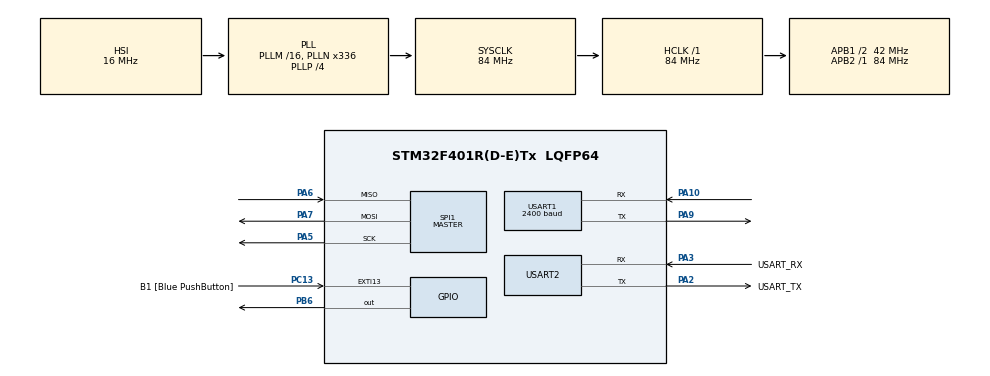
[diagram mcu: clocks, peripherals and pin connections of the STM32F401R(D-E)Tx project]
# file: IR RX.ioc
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Dma.Request0=SPI1_TX
Dma.Request1=USART1_RX
Dma.Request2=USART2_RX
Dma.SPI1_TX.0.Direction=DMA_MEMORY_TO_PERIPH
Dma.SPI1_TX.0.FIFOMode=DMA_FIFOMODE_DISABLE
Dma.SPI1_TX.0.Instance=DMA2_Stream3
Dma.SPI1_TX.0.MemDataAlignment=DMA_MDATAALIGN_BYTE
Dma.SPI1_TX.0.MemInc=DMA_MINC_ENABLE
Dma.SPI1_TX.0.Mode=DMA_NORMAL
Dma.SPI1_TX.0.PeriphDataAlignment=DMA_PDATAALIGN_BYTE
Dma.SPI1_TX.0.PeriphInc=DMA_PINC_DISABLE
Dma.SPI1_TX.0.Priority=DMA_PRIORITY_LOW
Dma.USART1_RX.1.Direction=DMA_PERIPH_TO_MEMORY
Dma.USART1_RX.1.FIFOMode=DMA_FIFOMODE_DISABLE
Dma.USART1_RX.1.Instance=DMA2_Stream2
Dma.USART1_RX.1.MemDataAlignment=DMA_MDATAALIGN_BYTE
Dma.USART1_RX.1.MemInc=DMA_MINC_ENABLE
Dma.USART1_RX.1.Mode=DMA_NORMAL
Dma.USART1_RX.1.PeriphDataAlignment=DMA_PDATAALIGN_BYTE
Dma.USART1_RX.1.PeriphInc=DMA_PINC_DISABLE
Dma.USART1_RX.1.Priority=DMA_PRIORITY_LOW
Dma.USART2_RX.2.Direction=DMA_PERIPH_TO_MEMORY
Dma.USART2_RX.2.FIFOMode=DMA_FIFOMODE_DISABLE
Dma.USART2_RX.2.Instance=DMA1_Stream5
Dma.USART2_RX.2.MemDataAlignment=DMA_MDATAALIGN_BYTE
Dma.USART2_RX.2.MemInc=DMA_MINC_ENABLE
Dma.USART2_RX.2.Mode=DMA_NORMAL
Dma.USART2_RX.2.PeriphDataAlignment=DMA_PDATAALIGN_BYTE
Dma.USART2_RX.2.PeriphInc=DMA_PINC_DISABLE
Dma.USART2_RX.2.Priority=DMA_PRIORITY_LOW
Mcu.Family=STM32F4
Mcu.Name=STM32F401R(D-E)Tx
Mcu.Package=LQFP64
NVIC.DMA1_Stream5_IRQn=true\:0\:0\:false\:false\:true\:false\:true\:true
NVIC.DMA2_Stream2_IRQn=true\:0\:0\:false\:false\:true\:false\:true\:true
NVIC.DMA2_Stream3_IRQn=true\:0\:0\:false\:false\:true\:false\:true\:true
NVIC.PriorityGroup=NVIC_PRIORITYGROUP_0
NVIC.SPI1_IRQn=true\:0\:0\:false\:false\:true\:true\:true\:true
NVIC.TIM2_IRQn=true\:0\:0\:false\:false\:true\:true\:true\:true
NVIC.TIM3_IRQn=true\:0\:0\:false\:false\:true\:true\:true\:true
NVIC.USART1_IRQn=true\:0\:0\:false\:false\:true\:true\:true\:true
NVIC.USART2_IRQn=true\:0\:0\:false\:false\:true\:true\:true\:true
PA10.Mode=Asynchronous
PA10.Signal=USART1_RX
PA13.GPIO_Label=TMS
PA13.Mode=Serial_Wire
PA13.Signal=SYS_JTMS-SWDIO
PA14.GPIO_Label=TCK
PA14.Mode=Serial_Wire
PA14.Signal=SYS_JTCK-SWCLK
PA2.GPIO_Label=USART_TX
PA2.GPIO_Mode=GPIO_MODE_AF_PP
PA2.GPIO_PuPd=GPIO_NOPULL
PA2.GPIO_Speed=GPIO_SPEED_FREQ_LOW
PA2.Mode=Asynchronous
PA2.Signal=USART2_TX
PA3.GPIO_Label=USART_RX
PA3.GPIO_Mode=GPIO_MODE_AF_PP
PA3.GPIO_PuPd=GPIO_NOPULL
PA3.GPIO_Speed=GPIO_SPEED_FREQ_LOW
PA3.Mode=Asynchronous
PA3.Signal=USART2_RX
PA5.Mode=Full_Duplex_Master
PA5.Signal=SPI1_SCK
PA6.Mode=Full_Duplex_Master
PA6.Signal=SPI1_MISO
PA7.Mode=Full_Duplex_Master
PA7.Signal=SPI1_MOSI
PA9.Mode=Asynchronous
PA9.Signal=USART1_TX
PB6.Signal=GPIO_Output
PC13-ANTI_TAMP.GPIO_Label=B1 [Blue PushButton]
PC13-ANTI_TAMP.GPIO_ModeDefaultEXTI=GPIO_MODE_IT_FALLING
PC13-ANTI_TAMP.GPIO_PuPd=GPIO_NOPULL
PC13-ANTI_TAMP.Signal=GPXTI13
PC14-OSC32_IN.Mode=LSE-External-Oscillator
PC14-OSC32_IN.Signal=RCC_OSC32_IN
PC15-OSC32_OUT.Mode=LSE-External-Oscillator
PC15-OSC32_OUT.Signal=RCC_OSC32_OUT
PH0\ -\ OSC_IN.Mode=HSE-External-Clock-Source
PH0\ -\ OSC_IN.Signal=RCC_OSC_IN
PH1\ -\ OSC_OUT.Mode=HSE-External-Clock-Source
PH1\ -\ OSC_OUT.Signal=RCC_OSC_OUT
ProjectManager.HeapSize=0x200
ProjectManager.StackSize=0x400
ProjectManager.TargetToolchain=STM32CubeIDE
RCC.48MHZClocksFreq_Value=48000000
RCC.AHBFreq_Value=84000000
RCC.APB1CLKDivider=RCC_HCLK_DIV2
RCC.APB1Freq_Value=42000000
RCC.APB1TimFreq_Value=84000000
RCC.APB2Freq_Value=84000000
RCC.APB2TimFreq_Value=84000000
RCC.CortexFreq_Value=84000000
RCC.HCLKFreq_Value=84000000
RCC.HSE_VALUE=8000000
RCC.HSI_VALUE=16000000
RCC.PLLN=336
RCC.PLLP=RCC_PLLP_DIV4
RCC.PLLQ=7
RCC.SYSCLKFreq_VALUE=84000000
RCC.SYSCLKSource=RCC_SYSCLKSOURCE_PLLCLK
RCC.VCOOutputFreq_Value=336000000
SPI1.BaudRatePrescaler=SPI_BAUDRATEPRESCALER_4
SPI1.Direction=SPI_DIRECTION_2LINES
SPI1.FirstBit=SPI_FIRSTBIT_MSB
SPI1.Mode=SPI_MODE_MASTER
SPI1.VirtualType=VM_MASTER
TIM2.Period=8399
TIM2.Prescaler=4
TIM3.Period=8399
TIM3.Prescaler=9999
USART1.BaudRate=2400
USART1.VirtualMode=VM_ASYNC
USART2.VirtualMode=VM_ASYNC
VP_TIM2_VS_ClockSourceINT.Mode=Internal
VP_TIM3_VS_ClockSourceINT.Mode=Internal
board=NUCLEO-F401RE

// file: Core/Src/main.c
/* USER CODE BEGIN Header */
/**
  ******************************************************************************
  * @file           : main.c
  * @brief          : Main program body
  ******************************************************************************
  * @attention
  *
  * Copyright (c) 2024 STMicroelectronics.
  * All rights reserved.
  *
  * This software is licensed under terms that can be found in the LICENSE file
  * in the root directory of this software component.
  * If no LICENSE file comes with this software, it is provided AS-IS.
  *
  ******************************************************************************
  */
/* USER CODE END Header */
#include "main.h"

SPI_HandleTypeDef hspi1;
DMA_HandleTypeDef hdma_spi1_tx;

TIM_HandleTypeDef htim2;
TIM_HandleTypeDef htim3;

UART_HandleTypeDef huart1;
UART_HandleTypeDef huart2;
DMA_HandleTypeDef hdma_usart1_rx;
DMA_HandleTypeDef hdma_usart2_rx;

void SystemClock_Config(void);
static void MX_GPIO_Init(void);
static void MX_DMA_Init(void);
static void MX_USART2_UART_Init(void);
static void MX_SPI1_Init(void);
static void MX_TIM2_Init(void);
static void MX_TIM3_Init(void);
static void MX_USART1_UART_Init(void);

/* USER CODE BEGIN 0 */
#define SIZE 2
char RxChar = '0';

struct symbol_s{
	uint8_t c;
	uint8_t r;
};

struct symbol_s sym_c[5] = {
		{1,34},
		{2,65},
		{4,65},
		{8,65},
		{16,62}};

struct symbol_s sym_p[5] = {
		{1,48},
		{2,72},
		{4,72},
		{8,72},
		{16,127}};

struct symbol_s *current_sym = &sym_p;

uint8_t data[SIZE];
int counter = 0;
int flag = 0;

void HAL_UART_RxCpltCallback(UART_HandleTypeDef *huart)
{
    if (huart == &huart2){

    	HAL_UART_Receive_DMA(&huart1, &RxChar, 1);
	    switch(RxChar){
	    	case '0': current_sym = &sym_p;
	    		break;
	    	case '1': current_sym = &sym_c;
	   	    	break;
	    	default: current_sym = &sym_c;
	   	    	break;
	    }
    }

}

HAL_TIM_PeriodElapsedCallback(TIM_HandleTypeDef *htim){
	if(htim == &htim2){
		data[0] = current_sym[counter].r;
		data[1] = current_sym[counter].c;

		HAL_SPI_Transmit_DMA(&hspi1, &data, SIZE);
		HAL_GPIO_WritePin(GPIOB, GPIO_PIN_6, GPIO_PIN_RESET);
		HAL_GPIO_WritePin(GPIOB, GPIO_PIN_6, GPIO_PIN_SET);
		counter = (counter+1)%5;
	}
	if(htim == &htim3){
		flag = !flag;
	}
}
/* USER CODE END 0 */

int main(void)
{

  /* MCU Configuration--------------------------------------------------------*/

  /* Reset of all peripherals, Initializes the Flash interface and the Systick. */
  HAL_Init();

  /* Configure the system clock */
  SystemClock_Config();

  /* Initialize all configured peripherals */
  MX_GPIO_Init();
  MX_DMA_Init();
  MX_USART2_UART_Init();
  MX_SPI1_Init();
  MX_TIM2_Init();
  MX_TIM3_Init();
  MX_USART1_UART_Init();
  /* USER CODE BEGIN 2 */
  HAL_TIM_Base_Start_IT(&htim2);
  HAL_TIM_Base_Start_IT(&htim3);
  HAL_UART_Receive_DMA(&huart1, &RxChar, 1);
  /* USER CODE END 2 */

  /* Infinite loop */
  while (1)
  {

  }
}

void SystemClock_Config(void)
{
  RCC_OscInitTypeDef RCC_OscInitStruct = {0};
  RCC_ClkInitTypeDef RCC_ClkInitStruct = {0};

  /** Configure the main internal regulator output voltage
  */
  __HAL_RCC_PWR_CLK_ENABLE();
  __HAL_PWR_VOLTAGESCALING_CONFIG(PWR_REGULATOR_VOLTAGE_SCALE2);

  /** Initializes the RCC Oscillators according to the specified parameters
  * in the RCC_OscInitTypeDef structure.
  */
  RCC_OscInitStruct.OscillatorType = RCC_OSCILLATORTYPE_HSI;
  RCC_OscInitStruct.HSIState = RCC_HSI_ON;
  RCC_OscInitStruct.HSICalibrationValue = RCC_HSICALIBRATION_DEFAULT;
  RCC_OscInitStruct.PLL.PLLState = RCC_PLL_ON;
  RCC_OscInitStruct.PLL.PLLSource = RCC_PLLSOURCE_HSI;
  RCC_OscInitStruct.PLL.PLLM = 16;
  RCC_OscInitStruct.PLL.PLLN = 336;
  RCC_OscInitStruct.PLL.PLLP = RCC_PLLP_DIV4;
  RCC_OscInitStruct.PLL.PLLQ = 7;
  if (HAL_RCC_OscConfig(&RCC_OscInitStruct) != HAL_OK)
  {
    Error_Handler();
  }

  /** Initializes the CPU, AHB and APB buses clocks
  */
  RCC_ClkInitStruct.ClockType = RCC_CLOCKTYPE_HCLK|RCC_CLOCKTYPE_SYSCLK
                              |RCC_CLOCKTYPE_PCLK1|RCC_CLOCKTYPE_PCLK2;
  RCC_ClkInitStruct.SYSCLKSource = RCC_SYSCLKSOURCE_PLLCLK;
  RCC_ClkInitStruct.AHBCLKDivider = RCC_SYSCLK_DIV1;
  RCC_ClkInitStruct.APB1CLKDivider = RCC_HCLK_DIV2;
  RCC_ClkInitStruct.APB2CLKDivider = RCC_HCLK_DIV1;

  if (HAL_RCC_ClockConfig(&RCC_ClkInitStruct, FLASH_LATENCY_2) != HAL_OK)
  {
    Error_Handler();
  }
}

static void MX_SPI1_Init(void)
{

  /* SPI1 parameter configuration*/
  hspi1.Instance = SPI1;
  hspi1.Init.Mode = SPI_MODE_MASTER;
  hspi1.Init.Direction = SPI_DIRECTION_2LINES;
  hspi1.Init.DataSize = SPI_DATASIZE_8BIT;
  hspi1.Init.CLKPolarity = SPI_POLARITY_LOW;
  hspi1.Init.CLKPhase = SPI_PHASE_1EDGE;
  hspi1.Init.NSS = SPI_NSS_SOFT;
  hspi1.Init.BaudRatePrescaler = SPI_BAUDRATEPRESCALER_4;
  hspi1.Init.FirstBit = SPI_FIRSTBIT_MSB;
  hspi1.Init.TIMode = SPI_TIMODE_DISABLE;
  hspi1.Init.CRCCalculation = SPI_CRCCALCULATION_DISABLE;
  hspi1.Init.CRCPolynomial = 10;
  if (HAL_SPI_Init(&hspi1) != HAL_OK)
  {
    Error_Handler();
  }

}

static void MX_TIM2_Init(void)
{

  TIM_ClockConfigTypeDef sClockSourceConfig = {0};
  TIM_MasterConfigTypeDef sMasterConfig = {0};

  htim2.Instance = TIM2;
  htim2.Init.Prescaler = 4;
  htim2.Init.CounterMode = TIM_COUNTERMODE_UP;
  htim2.Init.Period = 8399;
  htim2.Init.ClockDivision = TIM_CLOCKDIVISION_DIV1;
  htim2.Init.AutoReloadPreload = TIM_AUTORELOAD_PRELOAD_DISABLE;
  if (HAL_TIM_Base_Init(&htim2) != HAL_OK)
  {
    Error_Handler();
  }
  sClockSourceConfig.ClockSource = TIM_CLOCKSOURCE_INTERNAL;
  if (HAL_TIM_ConfigClockSource(&htim2, &sClockSourceConfig) != HAL_OK)
  {
    Error_Handler();
  }
  sMasterConfig.MasterOutputTrigger = TIM_TRGO_RESET;
  sMasterConfig.MasterSlaveMode = TIM_MASTERSLAVEMODE_DISABLE;
  if (HAL_TIMEx_MasterConfigSynchronization(&htim2, &sMasterConfig) != HAL_OK)
  {
    Error_Handler();
  }

}

static void MX_TIM3_Init(void)
{

  TIM_ClockConfigTypeDef sClockSourceConfig = {0};
  TIM_MasterConfigTypeDef sMasterConfig = {0};

  htim3.Instance = TIM3;
  htim3.Init.Prescaler = 9999;
  htim3.Init.CounterMode = TIM_COUNTERMODE_UP;
  htim3.Init.Period = 8399;
  htim3.Init.ClockDivision = TIM_CLOCKDIVISION_DIV1;
  htim3.Init.AutoReloadPreload = TIM_AUTORELOAD_PRELOAD_DISABLE;
  if (HAL_TIM_Base_Init(&htim3) != HAL_OK)
  {
    Error_Handler();
  }
  sClockSourceConfig.ClockSource = TIM_CLOCKSOURCE_INTERNAL;
  if (HAL_TIM_ConfigClockSource(&htim3, &sClockSourceConfig) != HAL_OK)
  {
    Error_Handler();
  }
  sMasterConfig.MasterOutputTrigger = TIM_TRGO_RESET;
  sMasterConfig.MasterSlaveMode = TIM_MASTERSLAVEMODE_DISABLE;
  if (HAL_TIMEx_MasterConfigSynchronization(&htim3, &sMasterConfig) != HAL_OK)
  {
    Error_Handler();
  }

}

static void MX_USART1_UART_Init(void)
{

  huart1.Instance = USART1;
  huart1.Init.BaudRate = 2400;
  huart1.Init.WordLength = UART_WORDLENGTH_8B;
  huart1.Init.StopBits = UART_STOPBITS_1;
  huart1.Init.Parity = UART_PARITY_NONE;
  huart1.Init.Mode = UART_MODE_TX_RX;
  huart1.Init.HwFlowCtl = UART_HWCONTROL_NONE;
  huart1.Init.OverSampling = UART_OVERSAMPLING_16;
  if (HAL_UART_Init(&huart1) != HAL_OK)
  {
    Error_Handler();
  }

}

static void MX_USART2_UART_Init(void)
{

  huart2.Instance = USART2;
  huart2.Init.BaudRate = 115200;
  huart2.Init.WordLength = UART_WORDLENGTH_8B;
  huart2.Init.StopBits = UART_STOPBITS_1;
  huart2.Init.Parity = UART_PARITY_NONE;
  huart2.Init.Mode = UART_MODE_TX_RX;
  huart2.Init.HwFlowCtl = UART_HWCONTROL_NONE;
  huart2.Init.OverSampling = UART_OVERSAMPLING_16;
  if (HAL_UART_Init(&huart2) != HAL_OK)
  {
    Error_Handler();
  }

}

static void MX_DMA_Init(void)
{

  /* DMA controller clock enable */
  __HAL_RCC_DMA2_CLK_ENABLE();
  __HAL_RCC_DMA1_CLK_ENABLE();

  /* DMA interrupt init */
  /* DMA1_Stream5_IRQn interrupt configuration */
  HAL_NVIC_SetPriority(DMA1_Stream5_IRQn, 0, 0);
  HAL_NVIC_EnableIRQ(DMA1_Stream5_IRQn);
  /* DMA2_Stream2_IRQn interrupt configuration */
  HAL_NVIC_SetPriority(DMA2_Stream2_IRQn, 0, 0);
  HAL_NVIC_EnableIRQ(DMA2_Stream2_IRQn);
  /* DMA2_Stream3_IRQn interrupt configuration */
  HAL_NVIC_SetPriority(DMA2_Stream3_IRQn, 0, 0);
  HAL_NVIC_EnableIRQ(DMA2_Stream3_IRQn);

}

static void MX_GPIO_Init(void)
{
  GPIO_InitTypeDef GPIO_InitStruct = {0};

  /* GPIO Ports Clock Enable */
  __HAL_RCC_GPIOC_CLK_ENABLE();
  __HAL_RCC_GPIOH_CLK_ENABLE();
  __HAL_RCC_GPIOA_CLK_ENABLE();
  __HAL_RCC_GPIOB_CLK_ENABLE();

  /*Configure GPIO pin Output Level */
  HAL_GPIO_WritePin(GPIOB, GPIO_PIN_6, GPIO_PIN_RESET);

  /*Configure GPIO pin : B1_Pin */
  GPIO_InitStruct.Pin = B1_Pin;
  GPIO_InitStruct.Mode = GPIO_MODE_IT_FALLING;
  GPIO_InitStruct.Pull = GPIO_NOPULL;
  HAL_GPIO_Init(B1_GPIO_Port, &GPIO_InitStruct);

  /*Configure GPIO pin : PB6 */
  GPIO_InitStruct.Pin = GPIO_PIN_6;
  GPIO_InitStruct.Mode = GPIO_MODE_OUTPUT_PP;
  GPIO_InitStruct.Pull = GPIO_NOPULL;
  GPIO_InitStruct.Speed = GPIO_SPEED_FREQ_LOW;
  HAL_GPIO_Init(GPIOB, &GPIO_InitStruct);

}

void Error_Handler(void)
{
  __disable_irq();
  while (1)
  {
  }
}
